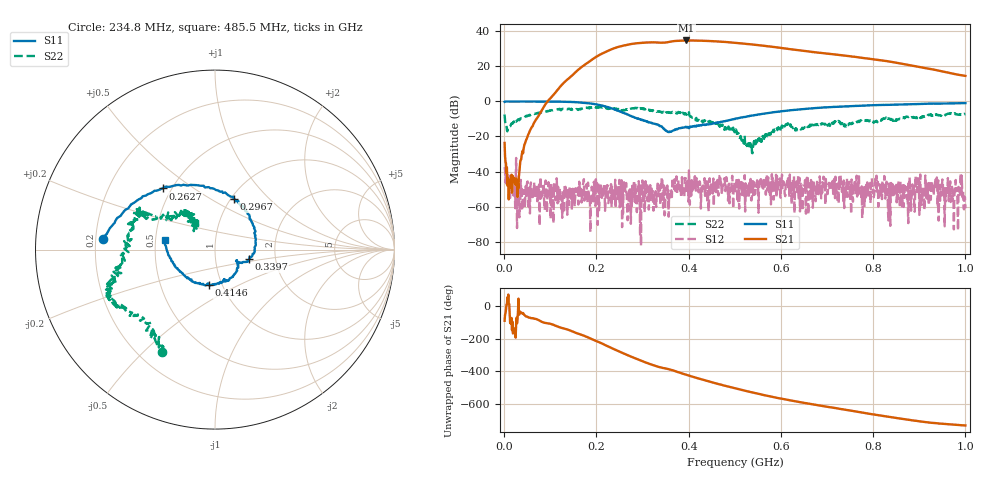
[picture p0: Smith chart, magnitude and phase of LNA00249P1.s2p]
! Created with skrf 1.9.0 (http://scikit-rf.org).
# Hz S RI R 50.0
!freq ReS11 ImS11 ReS21 ImS21 ReS12 ImS12 ReS22 ImS22
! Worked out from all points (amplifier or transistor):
!   1001 points, 1 MHz to 1 GHz, reference 50 ohm
!   highest |S21| = 34.8 dB at 394.6 MHz (marker M1)
!   |S21| within 3 dB of that: 257.5 MHz to 561.3 MHz (303.8 MHz wide, 74.2 % of centre)
!   unconditionally stable (mu >= 1): start of sweep to 78.78 MHz; 240.8 MHz to 400.5 MHz; 400.8 MHz to end of sweep (the widest 3 of 19)
!   at 166.8 MHz: K = 2.00, MAG = 29.2 dB, |S12| = -50.4 dB
!   at 500.5 MHz: K = 1.88, MAG = 34.2 dB, |S12| = -45.6 dB
!   at 1 GHz: K = 16.73, MAG = 22.5 dB, |S12| = -61.0 dB
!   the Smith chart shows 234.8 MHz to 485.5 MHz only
!   S11 on the Smith chart (normalised r, x): 234.8 MHz: 0.23, +0.04; 262.7 MHz: 0.45, +0.38; 296.7 MHz: 1.03, +0.64; 339.7 MHz: 1.46, -0.16; 414.6 MHz: 0.86, -0.36; 485.5 MHz: 0.56, +0.07
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1000000  0.9795 -0.00539  -0.00117 -0.0654  -0.00653 -0.0118  0.2917 0.3099
1.08892e8  0.5127 -0.849  -0.7857 -1.469  0.00314 0.000877  0.4224 -0.3832
1.67833e8  -0.2456 -0.8955  -9.624 -0.5591  0.000517 0.0012  0.0495 -0.6299
2.06794e8  -0.6702 -0.4223  -15.61 14.61  -0.00237 -0.000339  -0.1695 -0.6557
2.34766e8  -0.6261 0.058  -5.744 31.26  -0.00398 0.000215  -0.2955 -0.5691
2.62738e8  -0.2916 0.341  17.03 36.54  0.0022 -0.00153  -0.4312 -0.3685
2.96704e8  0.1032 0.2832  42.14 20.41  -5.51e-05 4.92e-05  -0.5748 -0.2162
3.16684e8  0.2199 0.1232  48.39 3.774  0.00191 0.00362  -0.5222 -0.131
3.34666e8  0.2094 -0.0238  46.98 -10.24  -0.00153 -0.00125  -0.5249 -0.031
3.39661e8  0.1898 -0.0542  45.8 -13.04  -0.00381 0.00191  -0.4969 0.00765
3.68632e8  0.1267 -0.0823  42.76 -31.47  0.00228 0.00219  -0.4478 0.1755
3.94606e8  0.0662 -0.1715  27.18 -48.09  0.00121 0.00204  -0.3961 0.1918
4.14586e8  -0.0357 -0.1978  11.72 -53.48  0.0038 0.00447  -0.2422 0.1645
4.45555e8  -0.1805 -0.1316  -11.55 -51.83  0.006 0.00233  -0.1713 0.22
4.85515e8  -0.2807 0.0552  -33.22 -36.41  2.44e-05 0.00146  -0.1107 0.1456
5.005e8  -0.2837 0.1352  -38.2 -28.4  -0.00507 0.00137  -0.1104 0.1192
5.36464e8  -0.2131 0.3313  -41.51 -8.93  0.00103 0.00109  -0.0573 0.0141
5.84416e8  -0.00467 0.4917  -34.51 10.73  0.00134 0.000832  -0.1276 -0.039
6.67333e8  0.3961 0.4994  -12.74 22.52  -0.000103 -0.00426  -0.2183 -0.00128
7.55245e8  0.6841 0.2813  3.787 18.7  -0.00115 -0.00267  -0.2452 0.0374
8.34166e8  0.8049 0.0187  10.22 9.384  0.00282 0.0029  -0.3266 0.0182
1e9  0.7273 -0.526  5.286 -0.9437  0.000305 -0.000842  -0.3151 0.3045
